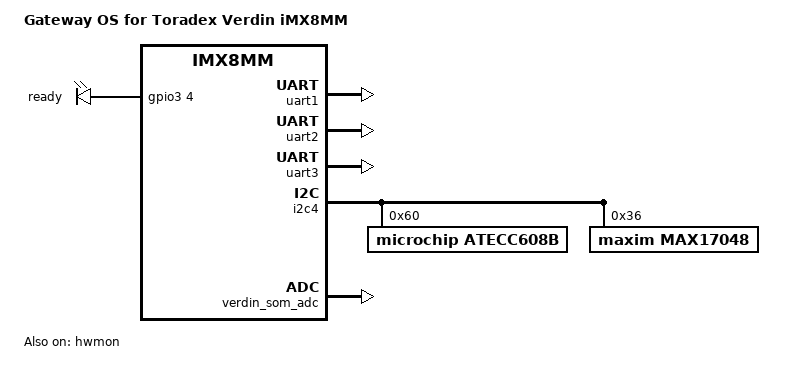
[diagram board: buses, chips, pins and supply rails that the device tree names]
// SPDX-License-Identifier: GPL-2.0-or-later OR MIT
/*
 * Copyright 2026 Daniel Kampert
 */

/dts-v1/;

#include "imx8mm-verdin.dtsi"
#include "imx8mm-verdin-wifi.dtsi"
#include "imx8mm-verdin-dev.dtsi"

/ {
	model = "Gateway OS for Toradex Verdin iMX8MM";
	compatible = "toradex,verdin-imx8mm-wifi-dev",
				 "toradex,verdin-imx8mm-wifi",
				 "toradex,verdin-imx8mm",
				 "fsl,imx8mm";

	chosen {
		stdout-path = &uart1;
	};

	gpio-leds {
		compatible = "gpio-leds";

		led-ready {
			gpios = <&gpio3 4 GPIO_ACTIVE_HIGH>;
			label = "ready";
			default-state = "off";
		};
	};
};

&iomuxc {
	pinctrl-names = "default";
	pinctrl-0 = <&pinctrl_gpio1>, <&pinctrl_gpio2>, <&pinctrl_gpio4>,
				<&pinctrl_gpio5>, <&pinctrl_gpio6>, <&pinctrl_gpio7>,
				<&pinctrl_gpio8>, <&pinctrl_battery>, <&pinctrl_power_enable>,
		    	<&pinctrl_zigbee_ctrl>, <&pinctrl_thread_ctrl>,
		    	<&pinctrl_wmbus_ctrl>, <&pinctrl_ssd>,
		    	<&pinctrl_powermux>, <&pinctrl_gpio_header>;

	pinctrl_version_resistors: versionresistorsgrp {
		fsl,pins = <
			MX8MM_IOMUXC_UART3_TXD_GPIO5_IO27			0x106	/* SODIMM 212 - version-bit0 */
			MX8MM_IOMUXC_GPIO1_IO00_GPIO1_IO0			0x106	/* SODIMM 216 - version-bit1 */
			MX8MM_IOMUXC_GPIO1_IO11_GPIO1_IO11			0x106	/* SODIMM 218 - version-bit2 */
		>;
	};

	pinctrl_battery: batterygrp {
		fsl,pins = <
			MX8MM_IOMUXC_SAI5_RXD2_GPIO3_IO23			0x106	/* SODIMM 42 - Battery-Charge-Enable (out, pull-down default off) */
			MX8MM_IOMUXC_SAI5_RXD1_GPIO3_IO22			0x1c6	/* SODIMM 44 - Battery-Charge (in, pull-up) */
			MX8MM_IOMUXC_SAI5_RXD3_GPIO3_IO24			0x1c6	/* SODIMM 46 - Battery-Alert (in, pull-up) */
		>;
	};

	pinctrl_power_enable: powerenablegrp {
		fsl,pins = <
			MX8MM_IOMUXC_SAI2_TXC_GPIO4_IO25			0x106	/* SODIMM 30 - LoRa-Power-Enable (out, pull-down default off) */
			MX8MM_IOMUXC_SAI2_TXFS_GPIO4_IO24			0x106	/* SODIMM 32 - Zigbee-Power-Enable (out, pull-down default off) */
			MX8MM_IOMUXC_SAI2_TXD0_GPIO4_IO26			0x106	/* SODIMM 34 - wmBus-Power-Enable (out, pull-down default off) */
			MX8MM_IOMUXC_SAI2_RXD0_GPIO4_IO23			0x106	/* SODIMM 36 - Thread-Power-Enable (out, pull-down default off) */
		>;
	};

	pinctrl_zigbee_ctrl: zigbeectrlgrp {
		fsl,pins = <
			MX8MM_IOMUXC_SAI1_TXC_GPIO4_IO11			0x106	/* SODIMM 104 - Zigbee-Reset (out, pull-down default off) */
			MX8MM_IOMUXC_SAI1_TXD0_GPIO4_IO12			0x106	/* SODIMM 106 - Zigbee-Boot (out, pull-down default off) */
		>;
	};

	pinctrl_thread_ctrl: threadctrlgrp {
		fsl,pins = <
			MX8MM_IOMUXC_SAI1_TXD1_GPIO4_IO13			0x106	/* SODIMM 108 - Thread-Reset (out, pull-down default off) */
			MX8MM_IOMUXC_SAI1_TXD2_GPIO4_IO14			0x106	/* SODIMM 112 - Thread-Boot (out, pull-down default off) */
		>;
	};

	pinctrl_wmbus_ctrl: wmbusctrlgrp {
		fsl,pins = <
			MX8MM_IOMUXC_SAI1_RXFS_GPIO4_IO0			0x106	/* SODIMM 102 - wM-Bus-Reset (out, pull-down default off) */
		>;
	};

	pinctrl_ssd: ssdgrp {
		fsl,pins = <
			MX8MM_IOMUXC_GPIO1_IO15_GPIO1_IO15			0x106	/* SODIMM 187 - SSD-Power-Enable (out, pull-down default off) */
		>;
	};

	pinctrl_powermux: powermuxgrp {
		fsl,pins = <
			MX8MM_IOMUXC_UART3_RXD_GPIO5_IO26			0x1c6	/* SODIMM 210 - PowerMux-Status (in, pull-up) */
		>;
	};

	/* Generic bidirectional GPIO breakout header, direction set by whatever consumes it */
	pinctrl_gpio_header: gpioheadergrp {
		fsl,pins = <
			MX8MM_IOMUXC_NAND_RE_B_GPIO3_IO15			0x106	/* SODIMM 17 - GPIO-Num0 (bidir, pull-down) */
			MX8MM_IOMUXC_GPIO1_IO01_GPIO1_IO1			0x106	/* SODIMM 19 - GPIO-Num1 (bidir, pull-down) */
			MX8MM_IOMUXC_NAND_CE2_B_GPIO3_IO3			0x106	/* SODIMM 21 - GPIO-Num2 (bidir, pull-down) */
			MX8MM_IOMUXC_SAI3_MCLK_GPIO5_IO2			0x106	/* SODIMM 91 - GPIO-Num3 (bidir, pull-down) */
			MX8MM_IOMUXC_I2C3_SDA_GPIO5_IO19			0x106	/* SODIMM 93 - GPIO-Num4 (bidir, pull-down) */
			MX8MM_IOMUXC_SAI1_RXD1_GPIO4_IO3			0x106	/* SODIMM 94 - GPIO-Num5 (bidir, pull-down) */
			MX8MM_IOMUXC_I2C3_SCL_GPIO5_IO18			0x106	/* SODIMM 95 - GPIO-Num6 (bidir, pull-down) */
			MX8MM_IOMUXC_SAI1_RXD2_GPIO4_IO4			0x106	/* SODIMM 96 - GPIO-Num7 (bidir, pull-down) */
		>;
	};

	pinctrl_uart1: uart1grp {
		fsl,pins = <
			MX8MM_IOMUXC_SAI3_RXC_GPIO4_IO29			0x106	/* SODIMM 133 */
			MX8MM_IOMUXC_SAI3_RXD_GPIO4_IO30			0x106	/* SODIMM 135 */
		>;
	};

	pinctrl_uart2: uart2grp {
		fsl,pins = <
			MX8MM_IOMUXC_SAI3_TXC_UART2_DCE_TX			0x146	/* SODIMM 131 */
			MX8MM_IOMUXC_SAI3_TXFS_UART2_DCE_RX			0x146	/* SODIMM 129 */
		>;
	};

	pinctrl_uart4: uart4grp {
		fsl,pins = <
			MX8MM_IOMUXC_ECSPI2_SCLK_UART4_DCE_RX		0x146	/* SODIMM 196 */
			MX8MM_IOMUXC_ECSPI2_MOSI_UART4_DCE_TX		0x146	/* SODIMM 200 */
			MX8MM_IOMUXC_ECSPI2_MISO_UART4_DCE_CTS_B	0x146	/* SODIMM 198 */
			MX8MM_IOMUXC_ECSPI2_SS0_UART4_DCE_RTS_B		0x146	/* SODIMM 202 */
		>;
	};
};

&gpio1 {
	gpio-line-names = "version-bit1", "gpio-num1", "", "", "", "", "", "",
	                  "", "", "", "version-bit2", "", "", "",
	                  "ssd-power-enable";
};

&gpio3 {
	gpio-line-names = "", "", "", "gpio-num2", "ready-led", "", "", "",
	                  "", "", "", "", "", "", "", "gpio-num0",
	                  "", "", "", "", "", "", "battery-charge",
	                  "battery-charge-enable", "battery-alert";
};

&gpio4 {
	gpio-line-names = "wmbus-reset", "", "", "gpio-num5", "gpio-num7", "", "", "",
	                  "", "", "", "zigbee-reset", "zigbee-boot", "thread-reset", "thread-boot", "",
	                  "", "", "", "s", "", "", "", "thread-power-enable",
	                  "zigbee-power-enable", "lora-power-enable",
	                  "wmbus-power-enable", "", "";
};

&gpio5 {
	gpio-line-names = "", "", "gpio-num3", "", "", "", "", "",
	                  "", "", "", "", "", "", "", "",
	                  "", "", "gpio-num6", "gpio-num4", "", "", "", "",
	                  "", "", "powermux-status", "version-bit0";
};

/* Used for Console */
&uart1 {
	status = "okay";
	pinctrl-names = "default";
	pinctrl-0 = <&pinctrl_uart1>;
};

/* Used for wM-Bus */
&uart2 {
	/delete-property/ linux,rs485-enabled-at-boot-time;
	/delete-property/ rs485-rts-active-low;
	/delete-property/ rs485-rx-during-tx;
	/delete-property/ uart-has-rtscts;
	status = "okay";
	pinctrl-names = "default";
	pinctrl-0 = <&pinctrl_uart2>;
};

/* Used for Zigbee */
&uart3 {
	/delete-property/ uart-has-rtscts;
	status = "okay";
	pinctrl-names = "default";
	pinctrl-0 = <&pinctrl_uart3>;
};

/* Used for Thread
 * Note: UART_4 is reserved for the Cortex-M4 core.
 */
&uart4 {
	status = "disabled";
	pinctrl-names = "default";
	pinctrl-0 = <&pinctrl_uart4>;
	uart-has-rtscts;
};

&sai2 {
	status = "disabled";
};

/* Verdin SPI_1, unused - SODIMM 196/198/200/202 are used for UART_4 instead */
&ecspi2 {
	status = "disabled";
};

/* Verdin QSPI_1, unused */
&flexspi {
	status = "disabled";
};

/* Verdin SD_1, unused - no SD card slot on this carrier */
&usdhc2 {
	status = "disabled";
};

/* Verdin PWM_3_DSI */
&pwm1 {
	status = "disabled";
};

/* Verdin PWM_1 */
&pwm2 {
	status = "disabled";
};

/* Verdin PWM_2 */
&pwm3 {
	status = "disabled";
};

/* Verdin I2C_1 - carrier board bus (ATECC608B + MAX17048) */
&i2c4 {
	status = "okay";

	atecc608b: atecc608b@60 {
		compatible = "microchip,atecc608b";
		reg = <0x60>;
	};

	max17048: fuel-gauge@36 {
		compatible = "maxim,max17048";
		reg = <0x36>;
	};
};

&hwmon {
	status = "okay";
};

&verdin_som_adc {
	status = "okay";
};

&i2c2 {
	status = "disabled";
};

&i2c3 {
	status = "disabled";
};

&lcdif {
	status = "disabled";
};

&sound_card {
	status = "disabled";
};

&gpio_expander_21 {
	status = "disabled";
};

&lvds_ti_sn65dsi84 {
	status = "disabled";
};

&hdmi_lontium_lt8912 {
	status = "disabled";
};

&atmel_mxt_ts {
	status = "disabled";
};

&eeprom_display_adapter {
	status = "disabled";
};

&eeprom_carrier_board {
	status = "disabled";
};

&hwmon_temp {
	status = "disabled";
};

&nau8822_1a {
	status = "disabled";
};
